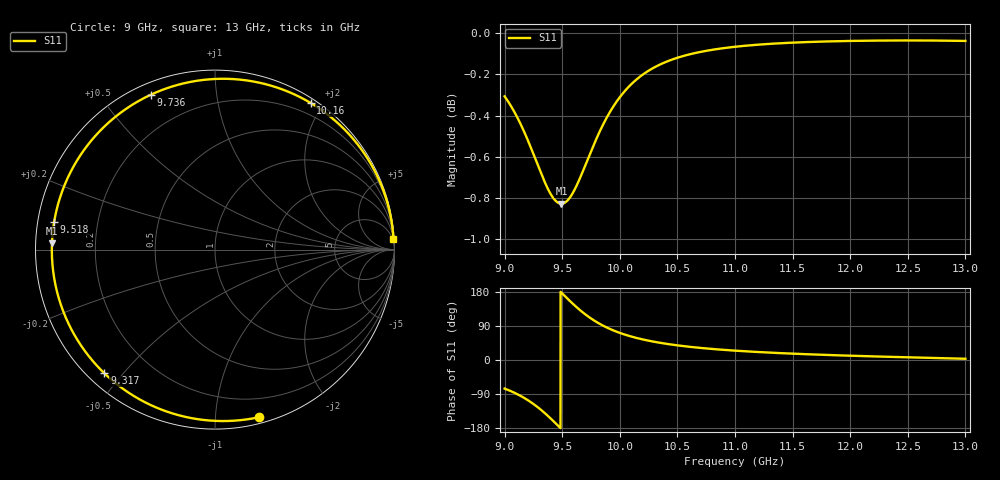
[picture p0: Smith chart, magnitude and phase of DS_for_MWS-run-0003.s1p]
! TOUCHSTONE file generated by CST DESIGN STUDIO
! Date and time: Tue Feb  4 17:08:01 2025
! Project name: C:\Work\MatlabApps\UnitCellOptimizationMatlab\CST\unitcell.cst
! Tree item: Tasks\Sweep1\SPara1\S-Parameters
! Header version: 2024
! Port assignment regex: !\s*Touchstone port\s*([0-9]+)\s*=\s*(CST MWS port|CST DES external port|CST DES block port)\s*(.+)\s* \(\"(.*)\"\)(\s*mode\s*([0-9]+))?.*
! Touchstone port assignment:
! Touchstone port 1 = CST DES external port 1 ("")
# GHz S MA R 50
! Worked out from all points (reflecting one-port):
!   4001 points, 9 GHz to 13 GHz, reference 50 ohm
!   lowest |S11| = -0.8 dB at 9.493 GHz (marker M1), VSWR 20.99, Z = 2.38 + j0.969 ohm
!   phase of S11 starts at -75 deg and turns -281 deg over the sweep
!   S11 on the Smith chart (normalised r, x): 9 GHz: 0.05, -1.29; 9.317 GHz: 0.05, -0.45; 9.518 GHz: 0.05, +0.09; 9.736 GHz: 0.05, +0.67; 10.16 GHz: 0.05, +1.84; 13 GHz: 3, +35
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9  0.9653 -75.4
9.081  0.9574 -85.9
9.181  0.9448 -102.1
9.252  0.9344 -116.4
9.317  0.9246 -131.8
9.364  0.9181 -144.2
9.413  0.9127 -158.2
9.454  0.91 -170.4
9.493  0.9091 177.8
9.5  0.9091 175.6
9.518  0.9094 170.2
9.571  0.9125 154.4
9.631  0.9191 137.7
9.683  0.9262 124.5
9.736  0.934 112.5
9.79  0.9418 101.8
9.849  0.9495 91.6
9.923  0.9578 80.8
10  0.9649 71.5
10.162  0.9754 56.9
10.316  0.9817 47.1
10.5  0.9864 38.6
10.722  0.9899 31.3
11  0.9925 24.7
11.5  0.9948 16.7
12  0.9958 11.3
12.5  0.996 7.1
13  0.9957 3.3
